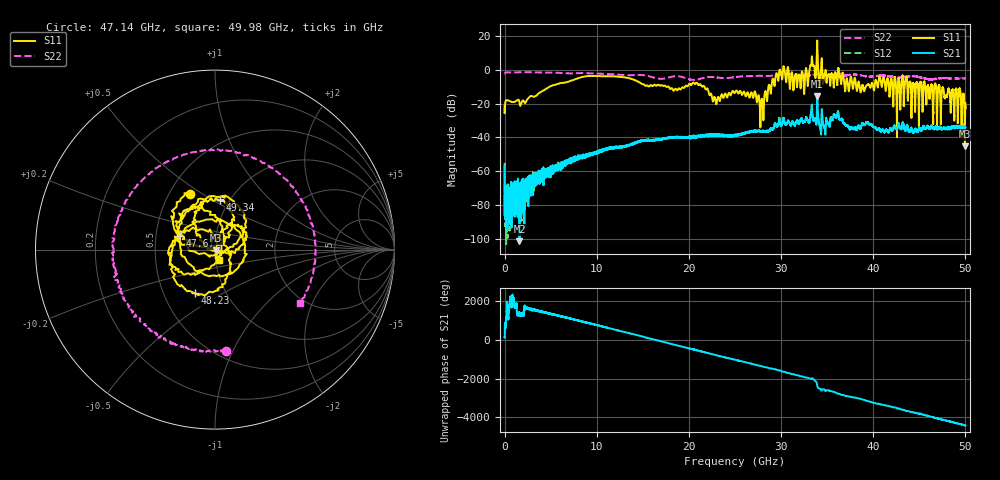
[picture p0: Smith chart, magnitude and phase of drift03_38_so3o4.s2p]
!Created with skrf (http://scikit-rf.org).
# Hz S RI R 50.0
!freq ReS11 ImS11 ReS21 ImS21 ReS12 ImS12 ReS22 ImS22
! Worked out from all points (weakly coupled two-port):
!   10001 points, 300 kHz to 50 GHz, reference 50 ohm
!   highest |S21| = -15.44 dB at 33.92 GHz (marker M1); lowest = -101.6 dB at 1.615 GHz (marker M2)
!   lowest |S11| = -45.2 dB at 49.95 GHz (marker M3), VSWR 1.01, Z = 50.4 - j0.326 ohm
!   |S11| at or under -10 dB: start of sweep to 4.852 GHz; 21.69 GHz to 28.62 GHz (6.935 GHz wide, 27.6 % of centre); 47.2 GHz to end of sweep (the widest 3 of 40)
!   |S22| runs from -5.9 to -1.3 dB; largest |S21 - S12| = 0.018
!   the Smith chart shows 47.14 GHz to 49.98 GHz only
!   S11 on the Smith chart (normalised r, x): 47.14 GHz: 0.63, +0.44; 47.67 GHz: 0.67, +0.11; 48.23 GHz: 0.71, -0.37; 49.34 GHz: 0.90, +0.54; 49.98 GHz: 1.04, -0.12
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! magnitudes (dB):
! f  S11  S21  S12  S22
! 300 kHz  -21.4  -56.9  -55.0  -2.0
! 265.3 MHz  -17.9  -77.5  -88.0  -1.4
! 1.615 GHz  -19.6  -101.6  -74.4  -1.4
! 8.335 GHz  -4.3  -51.1  -51.7  -1.9
! 16.67 GHz  -8.8  -41.3  -41.6  -5.2
! 21.01 GHz  -8.8  -38.9  -39.5  -5.6
! 22.81 GHz  -16.1  -38.2  -38.4  -4.2
! 25 GHz  -13.4  -38.8  -38.7  -4.3
! 27.92 GHz  -17.2  -36.5  -36.4  -3.5
! 29.69 GHz  -6.4  -32.2  -31.7  -3.1
! 32.32 GHz  -1.5  -30.5  -30.7  -3.3
! 33.34 GHz  7.7  -20.7  -20.9  -2.9
! 33.92 GHz  17.4  -15.4  -15.6  -2.5
! 38.82 GHz  -9.0  -31.5  -31.8  -3.4
! 41.67 GHz  -9.0  -36.7  -36.7  -3.7
! 47.14 GHz  -9.4  -34.2  -34.3  -4.9
! 47.67 GHz  -13.6  -34.4  -34.2  -4.8
! 48.23 GHz  -11.4  -34.3  -34.2  -5.0
! 49.34 GHz  -11.1  -33.4  -33.8  -5.1
! 49.95 GHz  -45.2  -33.9  -33.9  -5.0
! 49.98 GHz  -24.3  -34.2  -33.8  -5.0
! 50 GHz  -19.6  -34.2  -34.5  -5.0
